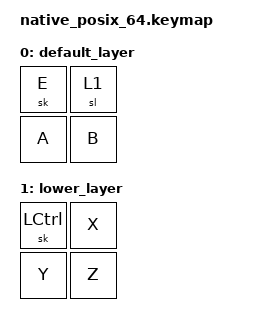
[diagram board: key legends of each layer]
#include <dt-bindings/zmk/keys.h>
#include <behaviors.dtsi>
#include <dt-bindings/zmk/kscan_mock.h>
#include "../behavior_keymap.dtsi"

/* This test ensures that sticky keys are deactivated immediately upon
 * release after being held for longer than release-after-ms.
 */

/ {
    keymap {
        compatible = "zmk,keymap";
        label ="Default keymap";

        default_layer {
            bindings = <
                &sk E &sl 1
                &kp A &kp B>;
        };

        lower_layer {
            bindings = <
                &sk LEFT_CONTROL &kp X
                &kp Y  &kp Z>;
        };
    };
};

&kscan {
    events = <
        // Hold &sk E past release-after-ms
        ZMK_MOCK_PRESS(0,0,1200)
        // Release &sk E
        ZMK_MOCK_RELEASE(0,0,10)
        // &sk E should now be deactivated
        // Tap &kp A right after
        ZMK_MOCK_PRESS(1,0,10)
        ZMK_MOCK_RELEASE(1,0,10)

        // Hold &sl 1 past release-after-ms
        ZMK_MOCK_PRESS(0,1,1200)
        // Release &sl 1
        ZMK_MOCK_RELEASE(0,1,10)
        // &sl 1 should now be deactivated
        // Tap &kp A right after
        ZMK_MOCK_PRESS(1,0,10)
        ZMK_MOCK_RELEASE(1,0,10)
    >;
};
